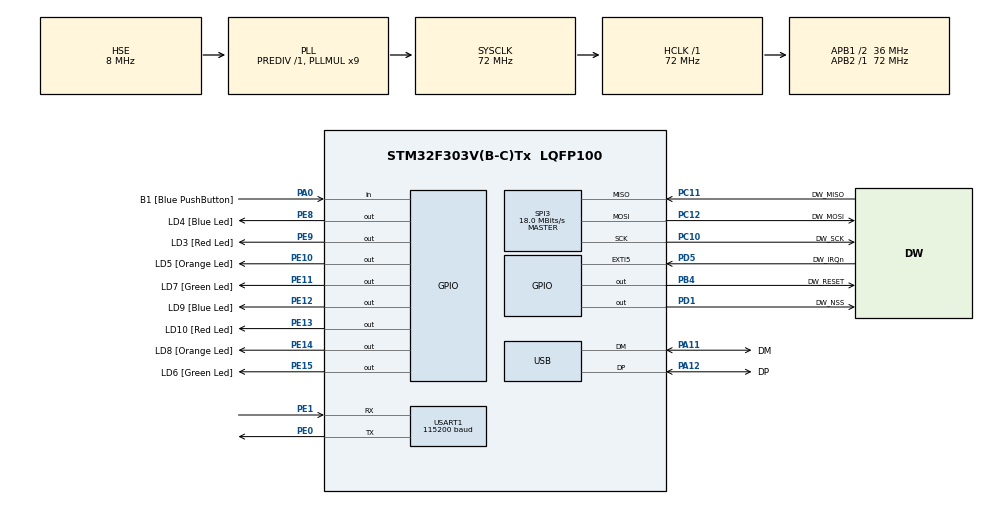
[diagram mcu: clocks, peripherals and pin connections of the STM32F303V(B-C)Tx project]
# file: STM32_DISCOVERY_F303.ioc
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Mcu.Family=STM32F3
Mcu.Name=STM32F303V(B-C)Tx
Mcu.Package=LQFP100
NVIC.PriorityGroup=NVIC_PRIORITYGROUP_0
NVIC.USB_LP_CAN_RX0_IRQn=true\:0\:0\:false\:false\:true\:false\:true\:true
PA0.GPIO_Label=B1 [Blue PushButton]
PA0.Signal=GPIO_Input
PA11.GPIO_Label=DM
PA11.Mode=Device
PA11.Signal=USB_DM
PA12.GPIO_Label=DP
PA12.Mode=Device
PA12.Signal=USB_DP
PA13.GPIO_Label=SWDIO
PA13.Mode=Serial_Wire
PA13.Signal=SYS_JTMS-SWDIO
PA14.GPIO_Label=SWCLK
PA14.Mode=Serial_Wire
PA14.Signal=SYS_JTCK-SWCLK
PB3.GPIO_Label=SWO
PB3.Signal=SYS_JTDO-TRACESWO
PB4.GPIO_Label=DW_RESET
PB4.GPIO_ModeDefaultOutputPP=GPIO_MODE_OUTPUT_OD
PB4.GPIO_PuPd=GPIO_NOPULL
PB4.GPIO_Speed=GPIO_SPEED_FREQ_MEDIUM
PB4.Signal=GPIO_Output
PC10.GPIO_Label=DW_SCK
PC10.Mode=Full_Duplex_Master
PC10.Signal=SPI3_SCK
PC11.GPIO_Label=DW_MISO
PC11.Mode=Full_Duplex_Master
PC11.Signal=SPI3_MISO
PC12.GPIO_Label=DW_MOSI
PC12.Mode=Full_Duplex_Master
PC12.Signal=SPI3_MOSI
PC14-OSC32_IN.GPIO_Label=OSC32_IN
PC14-OSC32_IN.Signal=RCC_OSC32_IN
PC15-OSC32_OUT.GPIO_Label=OSC32_OUT
PC15-OSC32_OUT.Signal=RCC_OSC32_OUT
PD1.GPIO_Label=DW_NSS
PD1.GPIO_PuPd=GPIO_PULLUP
PD1.GPIO_Speed=GPIO_SPEED_FREQ_MEDIUM
PD1.PinState=GPIO_PIN_SET
PD1.Signal=GPIO_Output
PD5.GPIO_Label=DW_IRQn
PD5.Signal=GPXTI5
PE0.Mode=Asynchronous
PE0.Signal=USART1_TX
PE1.Mode=Asynchronous
PE1.Signal=USART1_RX
PE10.GPIO_Label=LD5 [Orange Led]
PE10.Signal=GPIO_Output
PE11.GPIO_Label=LD7 [Green Led]
PE11.Signal=GPIO_Output
PE12.GPIO_Label=LD9 [Blue Led]
PE12.Signal=GPIO_Output
PE13.GPIO_Label=LD10 [Red Led]
PE13.Signal=GPIO_Output
PE14.GPIO_Label=LD8 [Orange Led]
PE14.Signal=GPIO_Output
PE15.GPIO_Label=LD6 [Green Led]
PE15.Signal=GPIO_Output
PE8.GPIO_Label=LD4 [Blue Led]
PE8.Signal=GPIO_Output
PE9.GPIO_Label=LD3 [Red Led]
PE9.Signal=GPIO_Output
PF0-OSC_IN.GPIO_Label=OSC_IN
PF0-OSC_IN.Mode=HSE-External-Clock-Source
PF0-OSC_IN.Signal=RCC_OSC_IN
PF1-OSC_OUT.GPIO_Label=OSC_OUT
PF1-OSC_OUT.Signal=RCC_OSC_OUT
ProjectManager.HeapSize=0x200
ProjectManager.StackSize=0x400
ProjectManager.TargetToolchain=STM32CubeIDE
RCC.AHBFreq_Value=72000000
RCC.APB1CLKDivider=RCC_HCLK_DIV2
RCC.APB1Freq_Value=36000000
RCC.APB1TimFreq_Value=72000000
RCC.APB2Freq_Value=72000000
RCC.APB2TimFreq_Value=72000000
RCC.CortexFreq_Value=72000000
RCC.HCLKFreq_Value=72000000
RCC.HSE_VALUE=8000000
RCC.HSI_VALUE=8000000
RCC.LSE_VALUE=32768
RCC.PLLMUL=RCC_PLL_MUL9
RCC.PRESCALERUSB=RCC_USBCLKSOURCE_PLL_DIV1_5
RCC.SYSCLKFreq_VALUE=72000000
RCC.SYSCLKSourceVirtual=RCC_SYSCLKSOURCE_PLLCLK
RCC.USBFreq_Value=48000000
SPI3.BaudRatePrescaler=SPI_BAUDRATEPRESCALER_2
SPI3.CalculateBaudRate=18.0 MBits/s
SPI3.DataSize=SPI_DATASIZE_8BIT
SPI3.Direction=SPI_DIRECTION_2LINES
SPI3.Mode=SPI_MODE_MASTER
SPI3.VirtualType=VM_MASTER
USART1.BaudRate=115200
USART1.VirtualMode-Asynchronous=VM_ASYNC
USB_DEVICE.CLASS_NAME_FS=CDC
USB_DEVICE.VirtualMode=Cdc
USB_DEVICE.VirtualModeFS=Cdc_FS
VP_USB_DEVICE_VS_USB_DEVICE_CDC_FS.Mode=CDC_FS
board=STM32F3DISCOVERY

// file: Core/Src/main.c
/* USER CODE BEGIN Header */
/**
  ******************************************************************************
  * @file           : main.c
  * @brief          : Main program body
  ******************************************************************************
  * @attention
  *
  * Copyright (c) 2024 STMicroelectronics.
  * All rights reserved.
  *
  * This software is licensed under terms that can be found in the LICENSE file
  * in the root directory of this software component.
  * If no LICENSE file comes with this software, it is provided AS-IS.
  *
  ******************************************************************************
  */
/* USER CODE END Header */
#include "main.h"
#include "usb_device.h"

/* USER CODE BEGIN Includes */
#include <port.h>

#include "Applications/Tag_app/tag_app.h"
#include "Applications/Anchor_app/anchor_app.h"
/* USER CODE END Includes */

SPI_HandleTypeDef hspi3;

UART_HandleTypeDef huart1;

/* USER CODE BEGIN PV */
SPI_HandleTypeDef   hspi4;
SPI_HandleTypeDef   *hcurrent_active_spi=&hspi3;//Is the current active SPI pointer - 1 or 2
uint16_t            pin_io_active_spi=DW_NSS_Pin;//CS IO for SPI. Default SPI1
GPIO_PinState       SPI_CS_state=GPIO_PIN_RESET;//Determine the CS for the IO
host_using_spi_e    host_spi = SPI_1;

/* USER CODE END PV */

void SystemClock_Config(void);
static void MX_GPIO_Init(void);
static void MX_USART1_UART_Init(void);
static void MX_SPI3_Init(void);

/* USER CODE BEGIN 0 */
void test_run_info(unsigned char *data)
{
    uint16_t data_length;

    data_length = strlen((const char *)data);
    CDC_Transmit_FS(data, data_length); /*Transmit the data through USB - Virtual port*/
    CDC_Transmit_FS("\n\r",2); /*Transmit end of line through USB - Virtual port*/
    //HAL_UART_Transmit(&huart1, (uint8_t *)data, data_length, HAL_MAX_DELAY);
    //uint8_t newline[] = "\n\r";
    //HAL_UART_Transmit(&huart1, newline, sizeof(newline) - 1, HAL_MAX_DELAY);
}

void delay_us(uint32_t us)
{
	//Todo: Implement this if needed.
}

//#define TAG_APP
#define ANCHOR_APP

/* USER CODE END 0 */

int main(void)
{

  /* MCU Configuration--------------------------------------------------------*/

  /* Reset of all peripherals, Initializes the Flash interface and the Systick. */
  HAL_Init();

  /* Configure the system clock */
  SystemClock_Config();

  /* Initialize all configured peripherals */
  MX_GPIO_Init();
  MX_USB_DEVICE_Init();
  MX_USART1_UART_Init();
  MX_SPI3_Init();
  /* USER CODE BEGIN 2 */

#if defined(TAG_APP)

  tag_application(1);

#elif  defined(ANCHOR_APP)

  	uint16_t coordinates_an1[3] = {0,360,310};  // In centimeters
    uint16_t coordinates_an2[3] = {0,1580,320};  // In centimeters
    uint16_t coordinates_an3[3] = {1497,1550,330};  // In centimeters
    uint16_t coordinates_an4[3] = {1497,360,340};  // In centimeters
    anchor_application(4,coordinates_an4);

#else
	#error "Define either TAG_APP or ANCHOR_APP before compiling."
#endif

  /* USER CODE END 2 */

  /* Infinite loop */
  while (1)
  {

  }
}

void SystemClock_Config(void)
{
  RCC_OscInitTypeDef RCC_OscInitStruct = {0};
  RCC_ClkInitTypeDef RCC_ClkInitStruct = {0};
  RCC_PeriphCLKInitTypeDef PeriphClkInit = {0};

  /** Initializes the RCC Oscillators according to the specified parameters
  * in the RCC_OscInitTypeDef structure.
  */
  RCC_OscInitStruct.OscillatorType = RCC_OSCILLATORTYPE_HSE;
  RCC_OscInitStruct.HSEState = RCC_HSE_BYPASS;
  RCC_OscInitStruct.HSEPredivValue = RCC_HSE_PREDIV_DIV1;
  RCC_OscInitStruct.HSIState = RCC_HSI_ON;
  RCC_OscInitStruct.PLL.PLLState = RCC_PLL_ON;
  RCC_OscInitStruct.PLL.PLLSource = RCC_PLLSOURCE_HSE;
  RCC_OscInitStruct.PLL.PLLMUL = RCC_PLL_MUL9;
  if (HAL_RCC_OscConfig(&RCC_OscInitStruct) != HAL_OK)
  {
    Error_Handler();
  }

  /** Initializes the CPU, AHB and APB buses clocks
  */
  RCC_ClkInitStruct.ClockType = RCC_CLOCKTYPE_HCLK|RCC_CLOCKTYPE_SYSCLK
                              |RCC_CLOCKTYPE_PCLK1|RCC_CLOCKTYPE_PCLK2;
  RCC_ClkInitStruct.SYSCLKSource = RCC_SYSCLKSOURCE_PLLCLK;
  RCC_ClkInitStruct.AHBCLKDivider = RCC_SYSCLK_DIV1;
  RCC_ClkInitStruct.APB1CLKDivider = RCC_HCLK_DIV2;
  RCC_ClkInitStruct.APB2CLKDivider = RCC_HCLK_DIV1;

  if (HAL_RCC_ClockConfig(&RCC_ClkInitStruct, FLASH_LATENCY_2) != HAL_OK)
  {
    Error_Handler();
  }
  PeriphClkInit.PeriphClockSelection = RCC_PERIPHCLK_USB|RCC_PERIPHCLK_USART1;
  PeriphClkInit.Usart1ClockSelection = RCC_USART1CLKSOURCE_PCLK2;
  PeriphClkInit.USBClockSelection = RCC_USBCLKSOURCE_PLL_DIV1_5;
  if (HAL_RCCEx_PeriphCLKConfig(&PeriphClkInit) != HAL_OK)
  {
    Error_Handler();
  }
}

static void MX_SPI3_Init(void)
{

  /* SPI3 parameter configuration*/
  hspi3.Instance = SPI3;
  hspi3.Init.Mode = SPI_MODE_MASTER;
  hspi3.Init.Direction = SPI_DIRECTION_2LINES;
  hspi3.Init.DataSize = SPI_DATASIZE_8BIT;
  hspi3.Init.CLKPolarity = SPI_POLARITY_LOW;
  hspi3.Init.CLKPhase = SPI_PHASE_1EDGE;
  hspi3.Init.NSS = SPI_NSS_SOFT;
  hspi3.Init.BaudRatePrescaler = SPI_BAUDRATEPRESCALER_2;
  hspi3.Init.FirstBit = SPI_FIRSTBIT_MSB;
  hspi3.Init.TIMode = SPI_TIMODE_DISABLE;
  hspi3.Init.CRCCalculation = SPI_CRCCALCULATION_DISABLE;
  hspi3.Init.CRCPolynomial = 7;
  hspi3.Init.CRCLength = SPI_CRC_LENGTH_DATASIZE;
  hspi3.Init.NSSPMode = SPI_NSS_PULSE_ENABLE;
  if (HAL_SPI_Init(&hspi3) != HAL_OK)
  {
    Error_Handler();
  }

}

static void MX_USART1_UART_Init(void)
{

  huart1.Instance = USART1;
  huart1.Init.BaudRate = 115200;
  huart1.Init.WordLength = UART_WORDLENGTH_8B;
  huart1.Init.StopBits = UART_STOPBITS_1;
  huart1.Init.Parity = UART_PARITY_NONE;
  huart1.Init.Mode = UART_MODE_TX_RX;
  huart1.Init.HwFlowCtl = UART_HWCONTROL_NONE;
  huart1.Init.OverSampling = UART_OVERSAMPLING_16;
  huart1.Init.OneBitSampling = UART_ONE_BIT_SAMPLE_DISABLE;
  huart1.AdvancedInit.AdvFeatureInit = UART_ADVFEATURE_NO_INIT;
  if (HAL_UART_Init(&huart1) != HAL_OK)
  {
    Error_Handler();
  }

}

static void MX_GPIO_Init(void)
{
  GPIO_InitTypeDef GPIO_InitStruct = {0};

  /* GPIO Ports Clock Enable */
  __HAL_RCC_GPIOC_CLK_ENABLE();
  __HAL_RCC_GPIOF_CLK_ENABLE();
  __HAL_RCC_GPIOA_CLK_ENABLE();
  __HAL_RCC_GPIOE_CLK_ENABLE();
  __HAL_RCC_GPIOD_CLK_ENABLE();
  __HAL_RCC_GPIOB_CLK_ENABLE();

  /*Configure GPIO pin Output Level */
  HAL_GPIO_WritePin(GPIOE, LD4_Pin|LD3_Pin|LD5_Pin|LD7_Pin
                          |LD9_Pin|LD10_Pin|LD8_Pin|LD6_Pin, GPIO_PIN_RESET);

  /*Configure GPIO pin Output Level */
  HAL_GPIO_WritePin(DW_NSS_GPIO_Port, DW_NSS_Pin, GPIO_PIN_SET);

  /*Configure GPIO pin Output Level */
  HAL_GPIO_WritePin(DW_RESET_GPIO_Port, DW_RESET_Pin, GPIO_PIN_RESET);

  /*Configure GPIO pin : B1_Pin */
  GPIO_InitStruct.Pin = B1_Pin;
  GPIO_InitStruct.Mode = GPIO_MODE_INPUT;
  GPIO_InitStruct.Pull = GPIO_NOPULL;
  HAL_GPIO_Init(B1_GPIO_Port, &GPIO_InitStruct);

  /*Configure GPIO pins : LD4_Pin LD3_Pin LD5_Pin LD7_Pin
                           LD9_Pin LD10_Pin LD8_Pin LD6_Pin */
  GPIO_InitStruct.Pin = LD4_Pin|LD3_Pin|LD5_Pin|LD7_Pin
                          |LD9_Pin|LD10_Pin|LD8_Pin|LD6_Pin;
  GPIO_InitStruct.Mode = GPIO_MODE_OUTPUT_PP;
  GPIO_InitStruct.Pull = GPIO_NOPULL;
  GPIO_InitStruct.Speed = GPIO_SPEED_FREQ_LOW;
  HAL_GPIO_Init(GPIOE, &GPIO_InitStruct);

  /*Configure GPIO pin : DW_NSS_Pin */
  GPIO_InitStruct.Pin = DW_NSS_Pin;
  GPIO_InitStruct.Mode = GPIO_MODE_OUTPUT_PP;
  GPIO_InitStruct.Pull = GPIO_PULLUP;
  GPIO_InitStruct.Speed = GPIO_SPEED_FREQ_MEDIUM;
  HAL_GPIO_Init(DW_NSS_GPIO_Port, &GPIO_InitStruct);

  /*Configure GPIO pin : DW_IRQn_Pin */
  GPIO_InitStruct.Pin = DW_IRQn_Pin;
  GPIO_InitStruct.Mode = GPIO_MODE_IT_RISING;
  GPIO_InitStruct.Pull = GPIO_NOPULL;
  HAL_GPIO_Init(DW_IRQn_GPIO_Port, &GPIO_InitStruct);

  /*Configure GPIO pin : DW_RESET_Pin */
  GPIO_InitStruct.Pin = DW_RESET_Pin;
  GPIO_InitStruct.Mode = GPIO_MODE_OUTPUT_OD;
  GPIO_InitStruct.Pull = GPIO_NOPULL;
  GPIO_InitStruct.Speed = GPIO_SPEED_FREQ_MEDIUM;
  HAL_GPIO_Init(DW_RESET_GPIO_Port, &GPIO_InitStruct);

}

void Error_Handler(void)
{
  __disable_irq();
  while (1)
  {
  }
}
